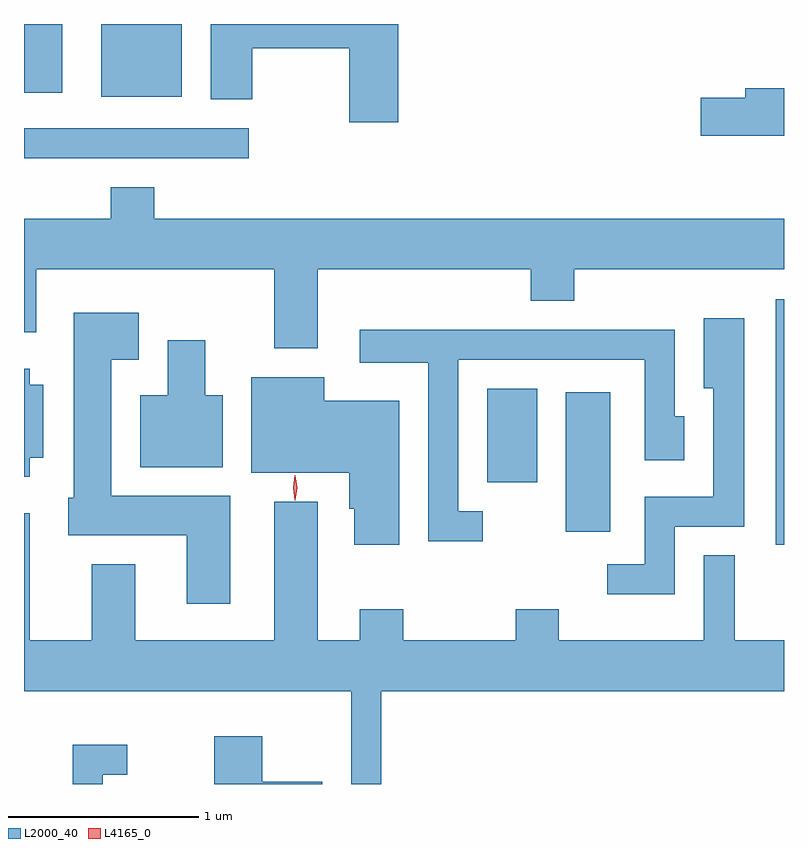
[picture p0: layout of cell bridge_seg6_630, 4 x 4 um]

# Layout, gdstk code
import gdstk
lib = gdstk.Library(unit=1e-6, precision=1e-09)
def R(c, l, rs):  # rectangles x0, y0, x1, y1
    for r in rs: c.add(gdstk.rectangle(r[:2], r[2:], *l))
def P(c, l, *ps):  # polygons
    for p in ps: c.add(gdstk.Polygon(p, *l))
L2000_40 = (2000, 40)
L4165_0 = (4165, 0)

bridge_seg6_630 = lib.new_cell('bridge_seg6_630')
R(bridge_seg6_630, L2000_40, [(329.621,1612.966,329.664,1614.259), (328.516,1613.036,328.749,1613.769), (328.101,1613.296,328.364,1613.789), (325.664,1615.001,326.848,1615.159), (326.071,1615.326,326.494,1615.708), (325.664,1615.346,325.864,1615.708)])
P(bridge_seg6_630, L2000_40, [(327.634,1615.708),(326.646,1615.708),(326.646,1615.311),(326.864,1615.311),(326.864,1615.581),(327.376,1615.581),(327.376,1615.191),(327.634,1615.191)],
  [(329.664,1615.369),(329.461,1615.369),(329.461,1615.319),(329.226,1615.319),(329.226,1615.121),(329.664,1615.121)],
  [(327.209,1614.416),(328.331,1614.416),(328.331,1614.251),(328.559,1614.251),(328.559,1614.416),(329.664,1614.416),(329.664,1614.684),(326.349,1614.684),(326.349,1614.849),(326.121,1614.849),(326.121,1614.684),(325.664,1614.684),(325.664,1614.086),(325.729,1614.086),(325.729,1614.416),(326.981,1614.416),(326.981,1614.001),(327.209,1614.001)],
  [(326.749,1613.224),(326.124,1613.224),(326.124,1613.941),(326.269,1613.941),(326.269,1614.189),(325.926,1614.189),(325.926,1613.214),(325.896,1613.214),(325.896,1613.016),(326.521,1613.016),(326.521,1612.656),(326.749,1612.656)],
  [(329.089,1613.061),(329.454,1613.061),(329.454,1614.159),(329.241,1614.159),(329.241,1613.791),(329.291,1613.791),(329.291,1613.219),(328.931,1613.219),(328.931,1612.864),(328.733,1612.864),(328.733,1612.706),(329.089,1612.706)],
  [(328.078,1613.144),(327.949,1613.144),(327.949,1613.941),(328.931,1613.941),(328.931,1613.411),(329.139,1613.411),(329.139,1613.644),(329.089,1613.644),(329.089,1614.099),(327.431,1614.099),(327.431,1613.926),(327.791,1613.926),(327.791,1612.986),(328.078,1612.986)],
  [(326.709,1613.754),(326.619,1613.754),(326.619,1614.044),(326.421,1614.044),(326.421,1613.754),(326.276,1613.754),(326.276,1613.376),(326.709,1613.376)],
  [(325.694,1613.426),(325.764,1613.426),(325.764,1613.809),(325.694,1613.809),(325.694,1613.894),(325.664,1613.894),(325.664,1613.326),(325.694,1613.326)],
  [(327.639,1613.724),(327.244,1613.724),(327.244,1613.849),(326.861,1613.849),(326.861,1613.346),(327.376,1613.346),(327.376,1613.156),(327.401,1613.156),(327.401,1612.966),(327.639,1612.966)],
  [(327.544,1612.196),(329.664,1612.196),(329.664,1612.464),(329.404,1612.464),(329.404,1612.913),(329.241,1612.913),(329.241,1612.464),(328.479,1612.464),(328.479,1612.629),(328.251,1612.629),(328.251,1612.464),(327.659,1612.464),(327.659,1612.629),(327.431,1612.629),(327.431,1612.464),(327.209,1612.464),(327.209,1613.194),(326.981,1613.194),(326.981,1612.464),(326.249,1612.464),(326.249,1612.864),(326.021,1612.864),(326.021,1612.464),(325.694,1612.464),(325.694,1613.133),(325.664,1613.133),(325.664,1612.196),(327.386,1612.196),(327.386,1611.708),(327.544,1611.708)],
  [(327.234,1611.719),(326.919,1611.719),(326.919,1611.959),(326.666,1611.959),(326.666,1611.708),(327.234,1611.708)],
  [(326.079,1611.756),(326.208,1611.756),(326.208,1611.914),(325.921,1611.914),(325.921,1611.708),(326.079,1611.708)])
P(bridge_seg6_630, L4165_0, [(327.091,1613.2),(327.09,1613.201),(327.081,1613.267),(327.09,1613.333),(327.091,1613.334),(327.091,1613.333),(327.101,1613.267),(327.091,1613.201)])

lib.write_gds('bridge_seg6_630.gds')
